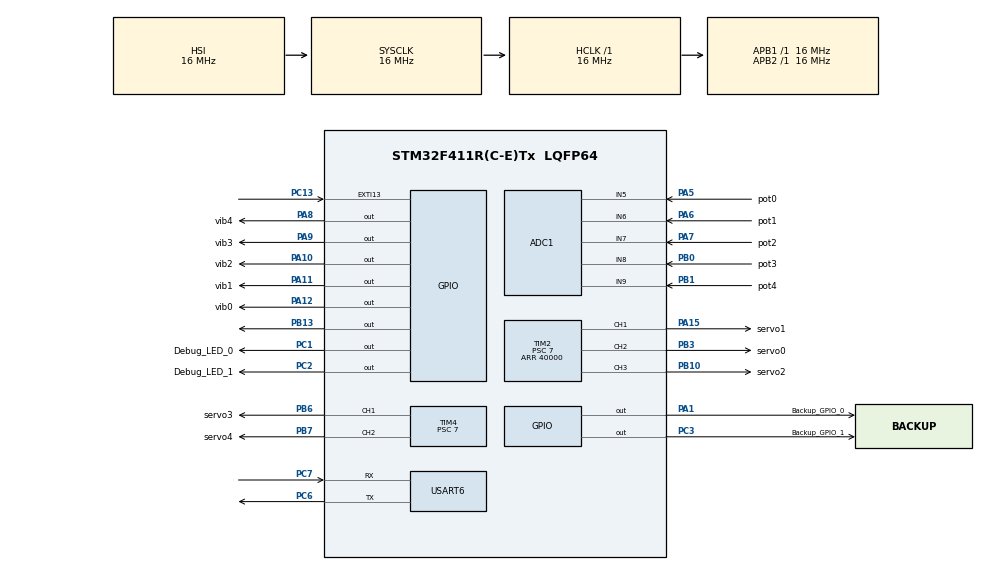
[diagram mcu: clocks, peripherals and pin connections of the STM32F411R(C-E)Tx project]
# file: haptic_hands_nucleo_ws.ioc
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ADC1.Channel-0\#ChannelRegularConversion=ADC_CHANNEL_5
ADC1.Channel-1\#ChannelRegularConversion=ADC_CHANNEL_6
ADC1.Channel-2\#ChannelRegularConversion=ADC_CHANNEL_7
ADC1.Channel-5\#ChannelRegularConversion=ADC_CHANNEL_8
ADC1.Channel-6\#ChannelRegularConversion=ADC_CHANNEL_9
ADC1.ContinuousConvMode=DISABLE
ADC1.DMAContinuousRequests=ENABLE
ADC1.EOCSelection=ADC_EOC_SINGLE_CONV
ADC1.ExternalTrigConv=ADC_EXTERNALTRIGCONV_T3_TRGO
ADC1.InjNumberOfConversion=0
ADC1.NbrOfConversion=5
ADC1.NbrOfConversionFlag=1
ADC1.Rank-0\#ChannelRegularConversion=1
ADC1.Rank-1\#ChannelRegularConversion=2
ADC1.Rank-2\#ChannelRegularConversion=3
ADC1.Rank-5\#ChannelRegularConversion=4
ADC1.Rank-6\#ChannelRegularConversion=5
ADC1.SamplingTime-0\#ChannelRegularConversion=ADC_SAMPLETIME_3CYCLES
ADC1.SamplingTime-1\#ChannelRegularConversion=ADC_SAMPLETIME_3CYCLES
ADC1.SamplingTime-2\#ChannelRegularConversion=ADC_SAMPLETIME_3CYCLES
ADC1.SamplingTime-5\#ChannelRegularConversion=ADC_SAMPLETIME_3CYCLES
ADC1.SamplingTime-6\#ChannelRegularConversion=ADC_SAMPLETIME_3CYCLES
ADC1.master=1
Dma.ADC1.0.Direction=DMA_PERIPH_TO_MEMORY
Dma.ADC1.0.FIFOMode=DMA_FIFOMODE_DISABLE
Dma.ADC1.0.Instance=DMA2_Stream0
Dma.ADC1.0.MemDataAlignment=DMA_MDATAALIGN_HALFWORD
Dma.ADC1.0.MemInc=DMA_MINC_ENABLE
Dma.ADC1.0.Mode=DMA_CIRCULAR
Dma.ADC1.0.PeriphDataAlignment=DMA_PDATAALIGN_HALFWORD
Dma.ADC1.0.PeriphInc=DMA_PINC_DISABLE
Dma.ADC1.0.Priority=DMA_PRIORITY_LOW
Dma.Request0=ADC1
Dma.Request1=USART6_RX
Dma.USART6_RX.1.Direction=DMA_PERIPH_TO_MEMORY
Dma.USART6_RX.1.FIFOMode=DMA_FIFOMODE_DISABLE
Dma.USART6_RX.1.Instance=DMA2_Stream1
Dma.USART6_RX.1.MemDataAlignment=DMA_MDATAALIGN_BYTE
Dma.USART6_RX.1.MemInc=DMA_MINC_ENABLE
Dma.USART6_RX.1.Mode=DMA_CIRCULAR
Dma.USART6_RX.1.PeriphDataAlignment=DMA_PDATAALIGN_BYTE
Dma.USART6_RX.1.PeriphInc=DMA_PINC_DISABLE
Dma.USART6_RX.1.Priority=DMA_PRIORITY_MEDIUM
Mcu.Family=STM32F4
Mcu.Name=STM32F411R(C-E)Tx
Mcu.Package=LQFP64
NVIC.DMA2_Stream0_IRQn=true\:0\:0\:false\:false\:true\:false\:true\:true
NVIC.DMA2_Stream1_IRQn=true\:0\:0\:false\:false\:true\:false\:true\:true
NVIC.EXTI15_10_IRQn=true\:0\:0\:false\:false\:true\:true\:true\:true
NVIC.PriorityGroup=NVIC_PRIORITYGROUP_4
NVIC.TIM2_IRQn=true\:0\:0\:false\:false\:true\:true\:true\:true
NVIC.TIM3_IRQn=true\:0\:0\:false\:false\:true\:true\:true\:true
NVIC.TIM4_IRQn=true\:0\:0\:false\:false\:true\:true\:true\:true
PA1.GPIO_Label=Backup_GPIO_0
PA1.Signal=GPIO_Output
PA10.GPIO_Label=vib2
PA10.Signal=GPIO_Output
PA11.GPIO_Label=vib1
PA11.Signal=GPIO_Output
PA12.GPIO_Label=vib0
PA12.Signal=GPIO_Output
PA13.Signal=SYS_JTMS-SWDIO
PA14.Signal=SYS_JTCK-SWCLK
PA15.GPIO_Label=servo1
PA15.Signal=S_TIM2_CH1_ETR
PA5.GPIO_Label=pot0
PA5.Signal=ADCx_IN5
PA6.GPIO_Label=pot1
PA6.Signal=ADCx_IN6
PA7.GPIO_Label=pot2
PA7.Signal=ADCx_IN7
PA8.GPIO_Label=vib4
PA8.Signal=GPIO_Output
PA9.GPIO_Label=vib3
PA9.Signal=GPIO_Output
PB0.GPIO_Label=pot3
PB0.Signal=ADCx_IN8
PB1.GPIO_Label=pot4
PB1.Signal=ADCx_IN9
PB10.GPIO_Label=servo2
PB10.Signal=S_TIM2_CH3
PB13.Signal=GPIO_Output
PB3.GPIO_Label=servo0
PB3.Signal=S_TIM2_CH2
PB6.GPIO_Label=servo3
PB6.Signal=S_TIM4_CH1
PB7.GPIO_Label=servo4
PB7.Signal=S_TIM4_CH2
PC1.GPIO_Label=Debug_LED_0
PC1.Signal=GPIO_Output
PC13-ANTI_TAMP.Signal=GPXTI13
PC2.GPIO_Label=Debug_LED_1
PC2.Signal=GPIO_Output
PC3.GPIO_Label=Backup_GPIO_1
PC3.Signal=GPIO_Output
PC6.Mode=Asynchronous
PC6.Signal=USART6_TX
PC7.Mode=Asynchronous
PC7.Signal=USART6_RX
ProjectManager.HeapSize=0x200
ProjectManager.StackSize=0x400
ProjectManager.TargetToolchain=STM32CubeIDE
RCC.AHBFreq_Value=16000000
RCC.APB1Freq_Value=16000000
RCC.APB2Freq_Value=16000000
RCC.CortexFreq_Value=16000000
RCC.HSE_VALUE=25000000
RCC.HSI_VALUE=16000000
RCC.LSE_VALUE=32768
RCC.SYSCLKFreq_VALUE=16000000
RCC.VCOOutputFreq_Value=192000000
SH.ADCx_IN5.0=ADC1_IN5,IN5
SH.ADCx_IN6.0=ADC1_IN6,IN6
SH.ADCx_IN7.0=ADC1_IN7,IN7
SH.ADCx_IN8.0=ADC1_IN8,IN8
SH.ADCx_IN9.0=ADC1_IN9,IN9
SH.S_TIM2_CH1_ETR.0=TIM2_CH1,PWM Generation1 CH1
SH.S_TIM2_CH2.0=TIM2_CH2,PWM Generation2 CH2
SH.S_TIM2_CH3.0=TIM2_CH3,PWM Generation3 CH3
SH.S_TIM4_CH1.0=TIM4_CH1,PWM Generation1 CH1
SH.S_TIM4_CH2.0=TIM4_CH2,PWM Generation2 CH2
TIM2.AutoReloadPreload=TIM_AUTORELOAD_PRELOAD_DISABLE
TIM2.Channel-PWM\ Generation1\ CH1=TIM_CHANNEL_1
TIM2.Channel-PWM\ Generation2\ CH2=TIM_CHANNEL_2
TIM2.Channel-PWM\ Generation3\ CH3=TIM_CHANNEL_3
TIM2.Period=40000
TIM2.Prescaler=7
TIM3.Period=16000-1
TIM3.TIM_MasterOutputTrigger=TIM_TRGO_UPDATE
TIM4.Channel-PWM\ Generation1\ CH1=TIM_CHANNEL_1
TIM4.Channel-PWM\ Generation2\ CH2=TIM_CHANNEL_2
TIM4.Period=40000
TIM4.Prescaler=7
USART6.VirtualMode=VM_ASYNC
VP_TIM2_VS_ClockSourceINT.Mode=Internal
VP_TIM3_VS_ClockSourceINT.Mode=Internal
VP_TIM4_VS_ClockSourceINT.Mode=Internal
board=custom

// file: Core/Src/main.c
/* USER CODE BEGIN Header */
/**
  ******************************************************************************
  * @file           : main.c
  * @brief          : Main program body
  ******************************************************************************
  * @attention
  *
  * Copyright (c) 2022 STMicroelectronics.
  * All rights reserved.
  *
  * This software is licensed under terms that can be found in the LICENSE file
  * in the root directory of this software component.
  * If no LICENSE file comes with this software, it is provided AS-IS.
  *
  ******************************************************************************
  */
/* USER CODE END Header */
#include "main.h"

/* USER CODE BEGIN Includes */
#include "potentiometer.h"
#include "servo.h"
#include "comms.h"
#include "vibration.h"
#include "median.h"

/* USER CODE END Includes */

/* USER CODE BEGIN PD */
#define UPDATE_TICK 10
#define UPDATE_COMMAND_TICK 50

/* USER CODE END PD */

 ADC_HandleTypeDef hadc1;
DMA_HandleTypeDef hdma_adc1;

TIM_HandleTypeDef htim2;
TIM_HandleTypeDef htim3;
TIM_HandleTypeDef htim4;

UART_HandleTypeDef huart6;
DMA_HandleTypeDef hdma_usart6_rx;

/* USER CODE BEGIN PV */

FingerState finger_state = (FingerState){.valid=0,
										  .angles = {0,0,0,0,0},
										  .collisions = {0,0,0,0,0}
										};

uint8_t calibrate_status = 0;
uint32_t timer3_cnt;
uint16_t pot_readings[NUM_FINGERS];

/* USER CODE END PV */

void SystemClock_Config(void);
static void MX_GPIO_Init(void);
static void MX_DMA_Init(void);
static void MX_ADC1_Init(void);
static void MX_USART6_UART_Init(void);
static void MX_TIM2_Init(void);
static void MX_TIM3_Init(void);
static void MX_TIM4_Init(void);
/* USER CODE BEGIN PFP */
// Checks if a collision has occurred on any of the fingers
void checkCollisions(){
	HAL_GPIO_WritePin(GPIOC, GPIO_PIN_1, finger_state.collisions[1]);
	for(int i = 0; i < NUM_FINGERS; i++){
		if(finger_state.collisions[i] == 1){
			servoSetPosRaw(i, finger_state.angles[i]);
			vibrationOnForDuration(i, 20);
		}
		else{
			uint16_t p = potRead(i);
			servoSetPosRaw(i, p);
			resetVibration(i);
		}
	}
  }

void update_command() {
	// Send "SOP(wrapped in sendCommand), Command type, [msb, lsb] * 5"
	// sendCommand('1', pot_readings[0], pot_readings[1], pot_readings[2], pot_readings[3], pot_readings[4]);
	//uint16_t test = getMedian(1);
	sendCommand('1', getMedian(0), getMedian(1), getMedian(2), getMedian(3), getMedian(4));
}

  // Main update loop
  // Reads pot value, sends it via uart, moves servo accordingly
void update(){
	 for(int i = 0; i < NUM_FINGERS; i++){
		 pot_readings[i] = potRead(i);
		 updateMedianArray(i, pot_readings[i]);
	 }
	checkCollisions();
	checkVibration();
}
/* USER CODE END PFP */

/* USER CODE BEGIN 0 */

#ifdef DEBUG
void HAL_Delay(uint32_t Delay){
	for(volatile int i = 0; i < Delay * 1000; ++i);
}
#endif

void HAL_GPIO_EXTI_Callback(uint16_t GPIO_PIN){
	if(GPIO_PIN != GPIO_PIN_13) return;
	// Map & calibrate potentiometers with servos on PC
	HAL_Delay(10);
	for(int i = 0; i < NUM_FINGERS; i ++){
		pot_readings[i] = potRead(i % NUM_FINGERS); // Update per finger
	}
	HAL_Delay(10);
	sendCommand(calibrate_status ? CALIBRATEMAX : CALIBRATEZERO, pot_readings[0], pot_readings[1], pot_readings[2], pot_readings[3], pot_readings[4]);
	calibrate_status = !calibrate_status;
}

void HAL_TIM_PeriodElapsedCallback(TIM_HandleTypeDef *htim){
	if(htim == &htim3){
		// increment ms counter
		timer3_cnt = (timer3_cnt + 1) % 51;
	}
}

/* USER CODE END 0 */

int main(void)
{

  /* MCU Configuration--------------------------------------------------------*/

  /* Reset of all peripherals, Initializes the Flash interface and the Systick. */
  HAL_Init();

  /* Configure the system clock */
  SystemClock_Config();

  /* Initialize all configured peripherals */
  MX_GPIO_Init();
  MX_DMA_Init();
  MX_ADC1_Init();
  MX_USART6_UART_Init();
  MX_TIM2_Init();
  MX_TIM3_Init();
  MX_TIM4_Init();
  /* USER CODE BEGIN 2 */

  // Start timers(tim2 tim4) for servos
  servoInit();

  // Timer for DMA ADC conversions
  HAL_TIM_Base_Start_IT(&htim3);

  // Start ADC dma
  // Timer 3 starts DMA conversion once per millisecond
  HAL_ADC_Start_DMA(&hadc1, adc_buffer, 5);

  // Starts UART receive interrupts
  UART_INIT();

  // Variable initialization
  for (int i = 0; i < NUM_FINGERS; i++) {
	  servoSetPos(i, 180);
  }

  // Turn on debug LEDs
  //HAL_GPIO_WritePin(GPIOC, GPIO_PIN_1, SET);
  //HAL_GPIO_WritePin(GPIOC, GPIO_PIN_2, SET);

  /* USER CODE END 2 */

  /* Infinite loop */
  /* USER CODE BEGIN WHILE */

  while (1)
  {
	 // Run every update_tick ms
	 if(timer3_cnt % UPDATE_TICK == 0){
		 update();
	 }

	 // Run every update_command_tick ms
	 if(timer3_cnt % UPDATE_COMMAND_TICK == 0){
		 update_command();
	 }

    /* USER CODE END WHILE */

  }
}

void SystemClock_Config(void)
{
  RCC_OscInitTypeDef RCC_OscInitStruct = {0};
  RCC_ClkInitTypeDef RCC_ClkInitStruct = {0};

  /** Configure the main internal regulator output voltage
  */
  __HAL_RCC_PWR_CLK_ENABLE();
  __HAL_PWR_VOLTAGESCALING_CONFIG(PWR_REGULATOR_VOLTAGE_SCALE1);

  /** Initializes the RCC Oscillators according to the specified parameters
  * in the RCC_OscInitTypeDef structure.
  */
  RCC_OscInitStruct.OscillatorType = RCC_OSCILLATORTYPE_HSI;
  RCC_OscInitStruct.HSIState = RCC_HSI_ON;
  RCC_OscInitStruct.HSICalibrationValue = RCC_HSICALIBRATION_DEFAULT;
  RCC_OscInitStruct.PLL.PLLState = RCC_PLL_NONE;
  if (HAL_RCC_OscConfig(&RCC_OscInitStruct) != HAL_OK)
  {
    Error_Handler();
  }

  /** Initializes the CPU, AHB and APB buses clocks
  */
  RCC_ClkInitStruct.ClockType = RCC_CLOCKTYPE_HCLK|RCC_CLOCKTYPE_SYSCLK
                              |RCC_CLOCKTYPE_PCLK1|RCC_CLOCKTYPE_PCLK2;
  RCC_ClkInitStruct.SYSCLKSource = RCC_SYSCLKSOURCE_HSI;
  RCC_ClkInitStruct.AHBCLKDivider = RCC_SYSCLK_DIV1;
  RCC_ClkInitStruct.APB1CLKDivider = RCC_HCLK_DIV1;
  RCC_ClkInitStruct.APB2CLKDivider = RCC_HCLK_DIV1;

  if (HAL_RCC_ClockConfig(&RCC_ClkInitStruct, FLASH_LATENCY_0) != HAL_OK)
  {
    Error_Handler();
  }
}

static void MX_ADC1_Init(void)
{

  ADC_ChannelConfTypeDef sConfig = {0};

  /** Configure the global features of the ADC (Clock, Resolution, Data Alignment and number of conversion)
  */
  hadc1.Instance = ADC1;
  hadc1.Init.ClockPrescaler = ADC_CLOCK_SYNC_PCLK_DIV2;
  hadc1.Init.Resolution = ADC_RESOLUTION_12B;
  hadc1.Init.ScanConvMode = ENABLE;
  hadc1.Init.ContinuousConvMode = DISABLE;
  hadc1.Init.DiscontinuousConvMode = DISABLE;
  hadc1.Init.ExternalTrigConvEdge = ADC_EXTERNALTRIGCONVEDGE_RISING;
  hadc1.Init.ExternalTrigConv = ADC_EXTERNALTRIGCONV_T3_TRGO;
  hadc1.Init.DataAlign = ADC_DATAALIGN_RIGHT;
  hadc1.Init.NbrOfConversion = 5;
  hadc1.Init.DMAContinuousRequests = ENABLE;
  hadc1.Init.EOCSelection = ADC_EOC_SINGLE_CONV;
  if (HAL_ADC_Init(&hadc1) != HAL_OK)
  {
    Error_Handler();
  }

  /** Configure for the selected ADC regular channel its corresponding rank in the sequencer and its sample time.
  */
  sConfig.Channel = ADC_CHANNEL_5;
  sConfig.Rank = 1;
  sConfig.SamplingTime = ADC_SAMPLETIME_3CYCLES;
  if (HAL_ADC_ConfigChannel(&hadc1, &sConfig) != HAL_OK)
  {
    Error_Handler();
  }

  /** Configure for the selected ADC regular channel its corresponding rank in the sequencer and its sample time.
  */
  sConfig.Channel = ADC_CHANNEL_6;
  sConfig.Rank = 2;
  if (HAL_ADC_ConfigChannel(&hadc1, &sConfig) != HAL_OK)
  {
    Error_Handler();
  }

  /** Configure for the selected ADC regular channel its corresponding rank in the sequencer and its sample time.
  */
  sConfig.Channel = ADC_CHANNEL_7;
  sConfig.Rank = 3;
  if (HAL_ADC_ConfigChannel(&hadc1, &sConfig) != HAL_OK)
  {
    Error_Handler();
  }

  /** Configure for the selected ADC regular channel its corresponding rank in the sequencer and its sample time.
  */
  sConfig.Channel = ADC_CHANNEL_8;
  sConfig.Rank = 4;
  if (HAL_ADC_ConfigChannel(&hadc1, &sConfig) != HAL_OK)
  {
    Error_Handler();
  }

  /** Configure for the selected ADC regular channel its corresponding rank in the sequencer and its sample time.
  */
  sConfig.Channel = ADC_CHANNEL_9;
  sConfig.Rank = 5;
  if (HAL_ADC_ConfigChannel(&hadc1, &sConfig) != HAL_OK)
  {
    Error_Handler();
  }

}

static void MX_TIM2_Init(void)
{

  TIM_ClockConfigTypeDef sClockSourceConfig = {0};
  TIM_MasterConfigTypeDef sMasterConfig = {0};
  TIM_OC_InitTypeDef sConfigOC = {0};

  htim2.Instance = TIM2;
  htim2.Init.Prescaler = 7;
  htim2.Init.CounterMode = TIM_COUNTERMODE_UP;
  htim2.Init.Period = 40000;
  htim2.Init.ClockDivision = TIM_CLOCKDIVISION_DIV1;
  htim2.Init.AutoReloadPreload = TIM_AUTORELOAD_PRELOAD_DISABLE;
  if (HAL_TIM_Base_Init(&htim2) != HAL_OK)
  {
    Error_Handler();
  }
  sClockSourceConfig.ClockSource = TIM_CLOCKSOURCE_INTERNAL;
  if (HAL_TIM_ConfigClockSource(&htim2, &sClockSourceConfig) != HAL_OK)
  {
    Error_Handler();
  }
  if (HAL_TIM_PWM_Init(&htim2) != HAL_OK)
  {
    Error_Handler();
  }
  sMasterConfig.MasterOutputTrigger = TIM_TRGO_RESET;
  sMasterConfig.MasterSlaveMode = TIM_MASTERSLAVEMODE_DISABLE;
  if (HAL_TIMEx_MasterConfigSynchronization(&htim2, &sMasterConfig) != HAL_OK)
  {
    Error_Handler();
  }
  sConfigOC.OCMode = TIM_OCMODE_PWM1;
  sConfigOC.Pulse = 0;
  sConfigOC.OCPolarity = TIM_OCPOLARITY_HIGH;
  sConfigOC.OCFastMode = TIM_OCFAST_DISABLE;
  if (HAL_TIM_PWM_ConfigChannel(&htim2, &sConfigOC, TIM_CHANNEL_1) != HAL_OK)
  {
    Error_Handler();
  }
  if (HAL_TIM_PWM_ConfigChannel(&htim2, &sConfigOC, TIM_CHANNEL_2) != HAL_OK)
  {
    Error_Handler();
  }
  if (HAL_TIM_PWM_ConfigChannel(&htim2, &sConfigOC, TIM_CHANNEL_3) != HAL_OK)
  {
    Error_Handler();
  }
  HAL_TIM_MspPostInit(&htim2);

}

static void MX_TIM3_Init(void)
{

  TIM_ClockConfigTypeDef sClockSourceConfig = {0};
  TIM_MasterConfigTypeDef sMasterConfig = {0};

  htim3.Instance = TIM3;
  htim3.Init.Prescaler = 0;
  htim3.Init.CounterMode = TIM_COUNTERMODE_UP;
  htim3.Init.Period = 16000-1;
  htim3.Init.ClockDivision = TIM_CLOCKDIVISION_DIV1;
  htim3.Init.AutoReloadPreload = TIM_AUTORELOAD_PRELOAD_DISABLE;
  if (HAL_TIM_Base_Init(&htim3) != HAL_OK)
  {
    Error_Handler();
  }
  sClockSourceConfig.ClockSource = TIM_CLOCKSOURCE_INTERNAL;
  if (HAL_TIM_ConfigClockSource(&htim3, &sClockSourceConfig) != HAL_OK)
  {
    Error_Handler();
  }
  sMasterConfig.MasterOutputTrigger = TIM_TRGO_UPDATE;
  sMasterConfig.MasterSlaveMode = TIM_MASTERSLAVEMODE_DISABLE;
  if (HAL_TIMEx_MasterConfigSynchronization(&htim3, &sMasterConfig) != HAL_OK)
  {
    Error_Handler();
  }

}

static void MX_TIM4_Init(void)
{

  TIM_ClockConfigTypeDef sClockSourceConfig = {0};
  TIM_MasterConfigTypeDef sMasterConfig = {0};
  TIM_OC_InitTypeDef sConfigOC = {0};

  htim4.Instance = TIM4;
  htim4.Init.Prescaler = 7;
  htim4.Init.CounterMode = TIM_COUNTERMODE_UP;
  htim4.Init.Period = 40000;
  htim4.Init.ClockDivision = TIM_CLOCKDIVISION_DIV1;
  htim4.Init.AutoReloadPreload = TIM_AUTORELOAD_PRELOAD_DISABLE;
  if (HAL_TIM_Base_Init(&htim4) != HAL_OK)
  {
    Error_Handler();
  }
  sClockSourceConfig.ClockSource = TIM_CLOCKSOURCE_INTERNAL;
  if (HAL_TIM_ConfigClockSource(&htim4, &sClockSourceConfig) != HAL_OK)
  {
    Error_Handler();
  }
  if (HAL_TIM_PWM_Init(&htim4) != HAL_OK)
  {
    Error_Handler();
  }
  sMasterConfig.MasterOutputTrigger = TIM_TRGO_RESET;
  sMasterConfig.MasterSlaveMode = TIM_MASTERSLAVEMODE_DISABLE;
  if (HAL_TIMEx_MasterConfigSynchronization(&htim4, &sMasterConfig) != HAL_OK)
  {
    Error_Handler();
  }
  sConfigOC.OCMode = TIM_OCMODE_PWM1;
  sConfigOC.Pulse = 0;
  sConfigOC.OCPolarity = TIM_OCPOLARITY_HIGH;
  sConfigOC.OCFastMode = TIM_OCFAST_DISABLE;
  if (HAL_TIM_PWM_ConfigChannel(&htim4, &sConfigOC, TIM_CHANNEL_1) != HAL_OK)
  {
    Error_Handler();
  }
  if (HAL_TIM_PWM_ConfigChannel(&htim4, &sConfigOC, TIM_CHANNEL_2) != HAL_OK)
  {
    Error_Handler();
  }
  HAL_TIM_MspPostInit(&htim4);

}

static void MX_USART6_UART_Init(void)
{

  huart6.Instance = USART6;
  huart6.Init.BaudRate = 115200;
  huart6.Init.WordLength = UART_WORDLENGTH_8B;
  huart6.Init.StopBits = UART_STOPBITS_1;
  huart6.Init.Parity = UART_PARITY_NONE;
  huart6.Init.Mode = UART_MODE_TX_RX;
  huart6.Init.HwFlowCtl = UART_HWCONTROL_NONE;
  huart6.Init.OverSampling = UART_OVERSAMPLING_16;
  if (HAL_UART_Init(&huart6) != HAL_OK)
  {
    Error_Handler();
  }

}

static void MX_DMA_Init(void)
{

  /* DMA controller clock enable */
  __HAL_RCC_DMA2_CLK_ENABLE();

  /* DMA interrupt init */
  /* DMA2_Stream0_IRQn interrupt configuration */
  HAL_NVIC_SetPriority(DMA2_Stream0_IRQn, 0, 0);
  HAL_NVIC_EnableIRQ(DMA2_Stream0_IRQn);
  /* DMA2_Stream1_IRQn interrupt configuration */
  HAL_NVIC_SetPriority(DMA2_Stream1_IRQn, 0, 0);
  HAL_NVIC_EnableIRQ(DMA2_Stream1_IRQn);

}

static void MX_GPIO_Init(void)
{
  GPIO_InitTypeDef GPIO_InitStruct = {0};

  /* GPIO Ports Clock Enable */
  __HAL_RCC_GPIOC_CLK_ENABLE();
  __HAL_RCC_GPIOA_CLK_ENABLE();
  __HAL_RCC_GPIOB_CLK_ENABLE();

  /*Configure GPIO pin Output Level */
  HAL_GPIO_WritePin(GPIOC, Debug_LED_0_Pin|Debug_LED_1_Pin|Backup_GPIO_1_Pin, GPIO_PIN_RESET);

  /*Configure GPIO pin Output Level */
  HAL_GPIO_WritePin(GPIOA, Backup_GPIO_0_Pin|vib4_Pin|vib3_Pin|vib2_Pin
                          |vib1_Pin|vib0_Pin, GPIO_PIN_RESET);

  /*Configure GPIO pin Output Level */
  HAL_GPIO_WritePin(GPIOB, GPIO_PIN_13, GPIO_PIN_RESET);

  /*Configure GPIO pin : PC13 */
  GPIO_InitStruct.Pin = GPIO_PIN_13;
  GPIO_InitStruct.Mode = GPIO_MODE_IT_RISING;
  GPIO_InitStruct.Pull = GPIO_NOPULL;
  HAL_GPIO_Init(GPIOC, &GPIO_InitStruct);

  /*Configure GPIO pins : Debug_LED_0_Pin Debug_LED_1_Pin Backup_GPIO_1_Pin */
  GPIO_InitStruct.Pin = Debug_LED_0_Pin|Debug_LED_1_Pin|Backup_GPIO_1_Pin;
  GPIO_InitStruct.Mode = GPIO_MODE_OUTPUT_PP;
  GPIO_InitStruct.Pull = GPIO_NOPULL;
  GPIO_InitStruct.Speed = GPIO_SPEED_FREQ_LOW;
  HAL_GPIO_Init(GPIOC, &GPIO_InitStruct);

  /*Configure GPIO pins : Backup_GPIO_0_Pin vib4_Pin vib3_Pin vib2_Pin
                           vib1_Pin vib0_Pin */
  GPIO_InitStruct.Pin = Backup_GPIO_0_Pin|vib4_Pin|vib3_Pin|vib2_Pin
                          |vib1_Pin|vib0_Pin;
  GPIO_InitStruct.Mode = GPIO_MODE_OUTPUT_PP;
  GPIO_InitStruct.Pull = GPIO_NOPULL;
  GPIO_InitStruct.Speed = GPIO_SPEED_FREQ_LOW;
  HAL_GPIO_Init(GPIOA, &GPIO_InitStruct);

  /*Configure GPIO pin : PB13 */
  GPIO_InitStruct.Pin = GPIO_PIN_13;
  GPIO_InitStruct.Mode = GPIO_MODE_OUTPUT_PP;
  GPIO_InitStruct.Pull = GPIO_NOPULL;
  GPIO_InitStruct.Speed = GPIO_SPEED_FREQ_LOW;
  HAL_GPIO_Init(GPIOB, &GPIO_InitStruct);

  /* EXTI interrupt init*/
  HAL_NVIC_SetPriority(EXTI15_10_IRQn, 0, 0);
  HAL_NVIC_EnableIRQ(EXTI15_10_IRQn);

}

void Error_Handler(void)
{
  __disable_irq();
  while (1)
  {
  }
}
